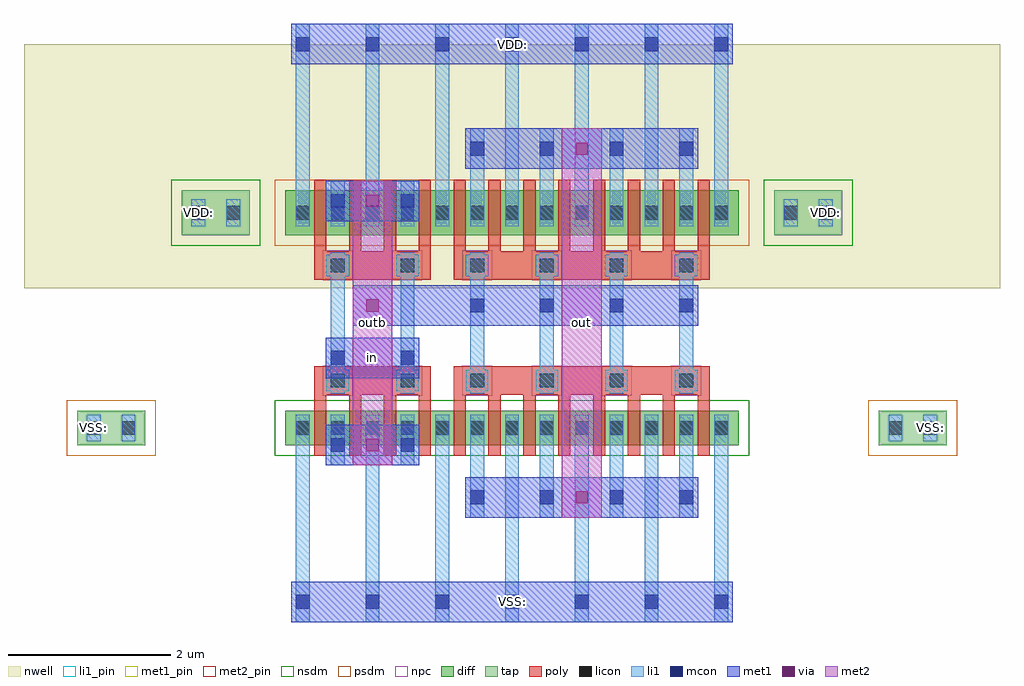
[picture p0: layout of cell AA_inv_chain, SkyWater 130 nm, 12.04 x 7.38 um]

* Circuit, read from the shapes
.subckt AA_inv_chain VDD: VSS: in out outb
XM1 outb in VSS: VSS: sky130_fd_pr__nfet_01v8 w=0.42 l=0.15 m=4
XM2 out outb VSS: VSS: sky130_fd_pr__nfet_01v8 w=0.42 l=0.15 m=8
XM3 outb in VDD: VDD: sky130_fd_pr__pfet_01v8 w=0.55 l=0.15 m=4
XM4 out outb VDD: VDD: sky130_fd_pr__pfet_01v8 w=0.55 l=0.15 m=8
.ends

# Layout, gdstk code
from math import pi, radians
import gdstk
lib = gdstk.Library(unit=1e-6, precision=1e-09)
def R(c, l, rs):  # rectangles x0, y0, x1, y1
    for r in rs: c.add(gdstk.rectangle(r[:2], r[2:], *l))
def A(c, l, x, y, w, h, nx, ny, dx, dy):  # array of equal rectangles
    R(c, l, [(x+i*dx, y+j*dy, x+i*dx+w, y+j*dy+h) for i in range(nx) for j in range(ny)])
def P(c, l, *ps):  # polygons
    for p in ps: c.add(gdstk.Polygon(p, *l))
nwell = (64, 20)
diff = (65, 20)
tap = (65, 44)
poly = (66, 20)
licon = (66, 44)
li1_pin = (67, 16)
li1 = (67, 20)
mcon = (67, 44)
met1_pin = (68, 16)
met1 = (68, 20)
via = (68, 44)
met2_pin = (69, 16)
met2 = (69, 20)
nsdm = (93, 44)
psdm = (94, 20)
npc = (95, 20)

mosend = lib.new_cell('MOSEnd')

mosend_1 = lib.new_cell('MOSEnd_1')
R(mosend_1, nwell, [(0,0,10.32,1.29)])

mosconn = lib.new_cell('MOSConn')
R(mosconn, diff, [(-0.215,0.655,1.935,1.075)])
R(mosconn, poly, [(0.345,0.115,0.515,0.445), (1.205,0.115,1.375,0.445)])
P(mosconn, poly, [(1.43,1.205),(1.43,0.455),(1.15,0.455),(1.15,1.205),(1,1.205),(1,0.455),(0.72,0.455),(0.72,1.205),(0.57,1.205),(0.57,0.455),(0.29,0.455),(0.29,1.205),(0.14,1.205),(0.14,0.105),(1.58,0.105),(1.58,1.205)])
A(mosconn, licon, -0.085, 0.78, 0.17, 0.17, 5, 1, 0.43, 0)
R(mosconn, licon, [(0.345,0.195,0.515,0.365), (1.205,0.195,1.375,0.365)])
A(mosconn, li1, -0.085, 0.7, 0.17, 0.33, 5, 1, 0.43, 0)
R(mosconn, li1, [(0.29,0.145,0.57,0.415), (1.15,0.145,1.43,0.415)])
P(mosconn, li1, [(0.345,0.445),(0.345,0.415),(0.29,0.415),(0.29,0.145),(0.345,0.145),(0.345,0.115),(0.515,0.115),(0.515,0.145),(0.57,0.145),(0.57,0.415),(0.515,0.415),(0.515,0.445)],
  [(1.205,0.445),(1.205,0.415),(1.15,0.415),(1.15,0.145),(1.205,0.145),(1.205,0.115),(1.375,0.115),(1.375,0.145),(1.43,0.145),(1.43,0.415),(1.375,0.415),(1.375,0.445)])
R(mosconn, nsdm, [(-0.345,0.525,2.065,1.205)])
R(mosconn, npc, [(0.245,0.095,0.615,0.465), (1.105,0.095,1.475,0.465)])

mosconn_1 = lib.new_cell('MOSConn_1')
R(mosconn_1, nwell, [(-0.345,0,2.065,1.72)])
R(mosconn_1, diff, [(-0.215,0.655,1.935,1.205)])
R(mosconn_1, poly, [(0.345,0.115,0.515,0.445), (1.205,0.115,1.375,0.445)])
P(mosconn_1, poly, [(1.43,1.335),(1.43,0.455),(1.15,0.455),(1.15,1.335),(1,1.335),(1,0.455),(0.72,0.455),(0.72,1.335),(0.57,1.335),(0.57,0.455),(0.29,0.455),(0.29,1.335),(0.14,1.335),(0.14,0.105),(1.58,0.105),(1.58,1.335)])
A(mosconn_1, licon, -0.085, 0.845, 0.17, 0.17, 5, 1, 0.43, 0)
R(mosconn_1, licon, [(0.345,0.195,0.515,0.365), (1.205,0.195,1.375,0.365)])
A(mosconn_1, li1, -0.085, 0.765, 0.17, 0.33, 5, 1, 0.43, 0)
R(mosconn_1, li1, [(0.29,0.145,0.57,0.415), (1.15,0.145,1.43,0.415)])
P(mosconn_1, li1, [(0.345,0.445),(0.345,0.415),(0.29,0.415),(0.29,0.145),(0.345,0.145),(0.345,0.115),(0.515,0.115),(0.515,0.145),(0.57,0.145),(0.57,0.415),(0.515,0.415),(0.515,0.445)],
  [(1.205,0.445),(1.205,0.415),(1.15,0.415),(1.15,0.145),(1.205,0.145),(1.205,0.115),(1.375,0.115),(1.375,0.145),(1.43,0.145),(1.43,0.415),(1.375,0.415),(1.375,0.445)])
R(mosconn_1, psdm, [(-0.345,0.525,2.065,1.335)])
R(mosconn_1, npc, [(0.245,0.095,0.615,0.465), (1.105,0.095,1.475,0.465)])

invcore = lib.new_cell('InvCore')
A(invcore, li1, -0.085, -0.25, 0.17, 2.56, 3, 1, 0.86, 0)
A(invcore, li1, -0.085, -0.25, 0.17, 0.5, 3, 2, 0.86, 6.88)
A(invcore, li1, -0.085, 4.635, 0.17, 2.495, 3, 1, 0.86, 0)
R(invcore, li1, [(0.345,1.685,0.515,2.31), (0.345,1.685,0.515,2.185), (1.205,1.685,1.375,2.31), (1.205,1.685,1.375,2.185), (0.345,2.565,0.515,4.315), (1.205,2.565,1.375,4.315), (0.345,2.76,0.515,3.26), (1.205,2.76,1.375,3.26), (0.345,4.635,0.515,5.195), (1.205,4.635,1.375,5.195), (0.345,4.695,0.515,5.195), (1.205,4.695,1.375,5.195)])
A(invcore, mcon, -0.085, -0.085, 0.17, 0.17, 3, 2, 0.86, 6.88)
R(invcore, mcon, [(0.345,1.85,0.515,2.02), (1.205,1.85,1.375,2.02), (0.345,2.925,0.515,3.095), (1.205,2.925,1.375,3.095), (0.345,4.86,0.515,5.03), (1.205,4.86,1.375,5.03)])
A(invcore, met1, -0.145, -0.25, 0.29, 0.5, 3, 2, 0.86, 6.88)
R(invcore, met1, [(-0.145,-0.25,1.865,0.25), (0.285,1.685,1.435,2.185), (0.285,1.685,0.575,2.185), (0.615,1.685,1.105,2.185), (1.145,1.685,1.435,2.185), (0.285,2.76,1.435,3.26), (0.285,2.76,0.575,3.26), (1.145,2.76,1.435,3.26), (0.285,4.695,1.435,5.195), (0.285,4.695,0.575,5.195), (0.615,4.695,1.105,5.195), (1.145,4.695,1.435,5.195), (-0.145,6.63,1.865,7.13)])
R(invcore, via, [(0.785,1.86,0.935,2.01), (0.785,4.87,0.935,5.02)])
R(invcore, met2, [(0.615,1.685,1.105,5.195), (0.615,1.685,1.105,2.185), (0.615,4.695,1.105,5.195)])
invcore.add(gdstk.Reference(mosconn, (0,3.01), x_reflection=True))
invcore.add(gdstk.Reference(mosconn_1, (0,3.87)))

mosconn_2 = lib.new_cell('MOSConn_2')
R(mosconn_2, diff, [(-0.215,0.655,3.655,1.075)])
A(mosconn_2, poly, 0.345, 0.115, 0.17, 0.33, 4, 1, 0.86, 0)
P(mosconn_2, poly, [(3.15,1.205),(3.15,0.455),(2.87,0.455),(2.87,1.205),(2.72,1.205),(2.72,0.455),(2.44,0.455),(2.44,1.205),(2.29,1.205),(2.29,0.455),(2.01,0.455),(2.01,1.205),(1.86,1.205),(1.86,0.455),(1.58,0.455),(1.58,1.205),(1.43,1.205),(1.43,0.455),(1.15,0.455),(1.15,1.205),(1,1.205),(1,0.455),(0.72,0.455),(0.72,1.205),(0.57,1.205),(0.57,0.455),(0.29,0.455),(0.29,1.205),(0.14,1.205),(0.14,0.105),(3.3,0.105),(3.3,1.205)])
A(mosconn_2, licon, 0.345, 0.195, 0.17, 0.17, 4, 1, 0.86, 0)
A(mosconn_2, licon, -0.085, 0.78, 0.17, 0.17, 9, 1, 0.43, 0)
A(mosconn_2, li1, 0.29, 0.145, 0.28, 0.27, 4, 1, 0.86, 0)
A(mosconn_2, li1, -0.085, 0.7, 0.17, 0.33, 9, 1, 0.43, 0)
P(mosconn_2, li1, [(0.345,0.445),(0.345,0.415),(0.29,0.415),(0.29,0.145),(0.345,0.145),(0.345,0.115),(0.515,0.115),(0.515,0.145),(0.57,0.145),(0.57,0.415),(0.515,0.415),(0.515,0.445)],
  [(1.205,0.445),(1.205,0.415),(1.15,0.415),(1.15,0.145),(1.205,0.145),(1.205,0.115),(1.375,0.115),(1.375,0.145),(1.43,0.145),(1.43,0.415),(1.375,0.415),(1.375,0.445)],
  [(2.065,0.445),(2.065,0.415),(2.01,0.415),(2.01,0.145),(2.065,0.145),(2.065,0.115),(2.235,0.115),(2.235,0.145),(2.29,0.145),(2.29,0.415),(2.235,0.415),(2.235,0.445)],
  [(2.925,0.445),(2.925,0.415),(2.87,0.415),(2.87,0.145),(2.925,0.145),(2.925,0.115),(3.095,0.115),(3.095,0.145),(3.15,0.145),(3.15,0.415),(3.095,0.415),(3.095,0.445)])
R(mosconn_2, nsdm, [(-0.345,0.525,3.785,1.205)])
A(mosconn_2, npc, 0.245, 0.095, 0.37, 0.37, 4, 1, 0.86, 0)

mosconn_3 = lib.new_cell('MOSConn_3')
R(mosconn_3, nwell, [(-0.345,0,3.785,1.72)])
R(mosconn_3, diff, [(-0.215,0.655,3.655,1.205)])
A(mosconn_3, poly, 0.345, 0.115, 0.17, 0.33, 4, 1, 0.86, 0)
P(mosconn_3, poly, [(3.15,1.335),(3.15,0.455),(2.87,0.455),(2.87,1.335),(2.72,1.335),(2.72,0.455),(2.44,0.455),(2.44,1.335),(2.29,1.335),(2.29,0.455),(2.01,0.455),(2.01,1.335),(1.86,1.335),(1.86,0.455),(1.58,0.455),(1.58,1.335),(1.43,1.335),(1.43,0.455),(1.15,0.455),(1.15,1.335),(1,1.335),(1,0.455),(0.72,0.455),(0.72,1.335),(0.57,1.335),(0.57,0.455),(0.29,0.455),(0.29,1.335),(0.14,1.335),(0.14,0.105),(3.3,0.105),(3.3,1.335)])
A(mosconn_3, licon, 0.345, 0.195, 0.17, 0.17, 4, 1, 0.86, 0)
A(mosconn_3, licon, -0.085, 0.845, 0.17, 0.17, 9, 1, 0.43, 0)
A(mosconn_3, li1, 0.29, 0.145, 0.28, 0.27, 4, 1, 0.86, 0)
A(mosconn_3, li1, -0.085, 0.765, 0.17, 0.33, 9, 1, 0.43, 0)
P(mosconn_3, li1, [(0.345,0.445),(0.345,0.415),(0.29,0.415),(0.29,0.145),(0.345,0.145),(0.345,0.115),(0.515,0.115),(0.515,0.145),(0.57,0.145),(0.57,0.415),(0.515,0.415),(0.515,0.445)],
  [(1.205,0.445),(1.205,0.415),(1.15,0.415),(1.15,0.145),(1.205,0.145),(1.205,0.115),(1.375,0.115),(1.375,0.145),(1.43,0.145),(1.43,0.415),(1.375,0.415),(1.375,0.445)],
  [(2.065,0.445),(2.065,0.415),(2.01,0.415),(2.01,0.145),(2.065,0.145),(2.065,0.115),(2.235,0.115),(2.235,0.145),(2.29,0.145),(2.29,0.415),(2.235,0.415),(2.235,0.445)],
  [(2.925,0.445),(2.925,0.415),(2.87,0.415),(2.87,0.145),(2.925,0.145),(2.925,0.115),(3.095,0.115),(3.095,0.145),(3.15,0.145),(3.15,0.415),(3.095,0.415),(3.095,0.445)])
R(mosconn_3, psdm, [(-0.345,0.525,3.785,1.335)])
A(mosconn_3, npc, 0.245, 0.095, 0.37, 0.37, 4, 1, 0.86, 0)

invcore_1 = lib.new_cell('InvCore_1')
A(invcore_1, li1, -0.085, -0.25, 0.17, 2.56, 5, 1, 0.86, 0)
A(invcore_1, li1, -0.085, -0.25, 0.17, 0.5, 5, 2, 0.86, 6.88)
A(invcore_1, li1, 0.345, 1.04, 0.17, 1.27, 4, 1, 0.86, 0)
A(invcore_1, li1, 0.345, 1.04, 0.17, 0.5, 4, 2, 0.86, 2.365)
A(invcore_1, li1, 0.345, 2.565, 0.17, 1.75, 4, 1, 0.86, 0)
A(invcore_1, li1, -0.085, 4.635, 0.17, 2.495, 5, 1, 0.86, 0)
A(invcore_1, li1, 0.345, 4.635, 0.17, 1.205, 4, 1, 0.86, 0)
A(invcore_1, li1, 0.345, 5.34, 0.17, 0.5, 4, 1, 0.86, 0)
A(invcore_1, mcon, -0.085, -0.085, 0.17, 0.17, 5, 2, 0.86, 6.88)
A(invcore_1, mcon, 0.345, 1.205, 0.17, 0.17, 4, 2, 0.86, 2.365)
A(invcore_1, mcon, 0.345, 5.505, 0.17, 0.17, 4, 1, 0.86, 0)
A(invcore_1, met1, -0.145, -0.25, 0.29, 0.5, 5, 2, 0.86, 6.88)
A(invcore_1, met1, 0.285, 1.04, 0.29, 0.5, 4, 2, 0.86, 2.365)
A(invcore_1, met1, 0.285, 5.34, 0.29, 0.5, 4, 1, 0.86, 0)
R(invcore_1, met1, [(-0.145,-0.25,3.585,0.25), (0.285,1.04,3.155,1.54), (1.475,1.04,1.965,1.54), (0.285,3.405,3.155,3.905), (0.285,5.34,3.155,5.84), (1.475,5.34,1.965,5.84), (-0.145,6.63,3.585,7.13)])
R(invcore_1, via, [(1.645,1.215,1.795,1.365), (1.645,5.515,1.795,5.665)])
R(invcore_1, met2, [(1.475,1.04,1.965,5.84), (1.475,1.04,1.965,1.54), (1.475,5.34,1.965,5.84)])
invcore_1.add(gdstk.Reference(mosconn_2, (0,3.01), x_reflection=True))
invcore_1.add(gdstk.Reference(mosconn_3, (0,3.87)))

invchaincore = lib.new_cell('InvChainCore')
R(invchaincore, met1, [(-0.145,-0.25,5.305,0.25), (0.615,3.405,4.875,3.905), (0.615,3.405,1.105,3.905), (-0.145,6.63,5.305,7.13)])
R(invchaincore, via, [(0.785,3.58,0.935,3.73)])
R(invchaincore, met2, [(0.615,1.685,1.105,5.195), (0.615,3.405,1.105,3.905)])
invchaincore.add(gdstk.Reference(invcore, (0,0)))
invchaincore.add(gdstk.Reference(invcore_1, (1.72,0)))

mostap = lib.new_cell('MOSTap')
R(mostap, tap, [(-0.205,0.655,0.635,1.075)])
R(mostap, licon, [(-0.085,0.78,0.085,0.95), (0.345,0.78,0.515,0.95)])
R(mostap, li1, [(-0.085,0.7,0.085,1.03), (0.345,0.7,0.515,1.03)])
R(mostap, psdm, [(-0.335,0.525,0.765,1.205)])

mostap_1 = lib.new_cell('MOSTap_1')
R(mostap_1, nwell, [(-0.335,0,0.765,1.72)])
R(mostap_1, tap, [(-0.205,0.655,0.635,1.205)])
R(mostap_1, licon, [(-0.085,0.845,0.085,1.015), (0.345,0.845,0.515,1.015)])
R(mostap_1, li1, [(-0.085,0.765,0.085,1.095), (0.345,0.765,0.515,1.095)])
R(mostap_1, nsdm, [(-0.335,0.525,0.765,1.335)])

invchaincoretap = lib.new_cell('InvChainCoreTap')
invchaincoretap.add(gdstk.Reference(invchaincore, (2.58,0)))
invchaincoretap.add(gdstk.Reference(mostap, (0,3.01), x_reflection=True))
invchaincoretap.add(gdstk.Reference(mostap, (10.32,3.01), rotation=pi))
invchaincoretap.add(gdstk.Reference(mostap_1, (9.03,3.87), rotation=pi, x_reflection=True))
invchaincoretap.add(gdstk.Reference(mostap_1, (1.29,3.87)))

moscorner = lib.new_cell('MOSCorner')

moscorner_1 = lib.new_cell('MOSCorner_1')
R(moscorner_1, nwell, [(0,0,0.86,1.29)])

mosrowedge = lib.new_cell('MOSRowEdge')

mosrowedge_1 = lib.new_cell('MOSRowEdge_1')
R(mosrowedge_1, nwell, [(0,0,0.86,1.72)])

mosspace = lib.new_cell('MOSSpace')

mosspace_1 = lib.new_cell('MOSSpace_1')

mosspace_2 = lib.new_cell('MOSSpace_2')
R(mosspace_2, nwell, [(0,0,1.29,1.72)])

mosspace_4 = lib.new_cell('MOSSpace_4')
R(mosspace_4, nwell, [(0,0,0.86,1.72)])

mosspace_5 = lib.new_cell('MOSSpace_5')
R(mosspace_5, nwell, [(0,0,1.29,1.72)])

mosspace_3 = lib.new_cell('MOSSpace_3')
R(mosspace_3, nwell, [(0,0,0.86,1.72)])

aa_inv_chain = lib.new_cell('AA_inv_chain')
R(aa_inv_chain, li1_pin, [(0.775,1.98,0.945,2.31), (11.095,1.98,11.265,2.31), (2.065,4.635,2.235,4.965), (9.805,4.635,9.975,4.965)])
R(aa_inv_chain, met1_pin, [(3.295,-0.25,8.745,0.25), (3.725,2.76,4.875,3.26), (3.295,6.63,8.745,7.13)])
R(aa_inv_chain, met2_pin, [(6.635,1.04,7.125,5.84), (4.055,1.685,4.545,5.195)])
aa_inv_chain.add(gdstk.Reference(mosend, (0.86,0)))
aa_inv_chain.add(gdstk.Reference(mosend_1, (0.86,6.88), x_reflection=True))
aa_inv_chain.add(gdstk.Reference(invchaincoretap, (0.86,0)))
aa_inv_chain.add(gdstk.Reference(moscorner, (0,0)))
aa_inv_chain.add(gdstk.Reference(moscorner, (12.04,0), rotation=pi, x_reflection=True))
aa_inv_chain.add(gdstk.Reference(moscorner_1, (0,6.88), x_reflection=True))
aa_inv_chain.add(gdstk.Reference(moscorner_1, (12.04,6.88), rotation=pi))
aa_inv_chain.add(gdstk.Reference(mosrowedge, (0,3.01), x_reflection=True))
aa_inv_chain.add(gdstk.Reference(mosrowedge, (12.04,3.01), rotation=pi))
aa_inv_chain.add(gdstk.Reference(mosrowedge_1, (0,3.87)))
aa_inv_chain.add(gdstk.Reference(mosrowedge_1, (12.04,3.87), rotation=pi, x_reflection=True))
aa_inv_chain.add(gdstk.Reference(mosspace, (1.29,3.01), x_reflection=True))
aa_inv_chain.add(gdstk.Reference(mosspace_1, (8.6,3.01), x_reflection=True))
aa_inv_chain.add(gdstk.Reference(mosspace_2, (0.86,3.87)))
aa_inv_chain.add(gdstk.Reference(mosspace_4, (8.6,3.87)))
aa_inv_chain.add(gdstk.Reference(mosspace_5, (9.89,3.87)))
aa_inv_chain.add(gdstk.Reference(mosspace_3, (2.58,3.87)))
aa_inv_chain.add(gdstk.Label('VDD:', (6.02,6.88), layer=68, texttype=16))
aa_inv_chain.add(gdstk.Label('VSS:', (6.02,0), layer=68, texttype=16))
aa_inv_chain.add(gdstk.Label('in', (4.3,3.01), layer=68, texttype=16))
aa_inv_chain.add(gdstk.Label('outb', (4.3,3.44), layer=69, texttype=16))
aa_inv_chain.add(gdstk.Label('out', (6.88,3.44), layer=69, texttype=16))
aa_inv_chain.add(gdstk.Label('VDD:', (2.15,4.8), layer=67, texttype=16))
aa_inv_chain.add(gdstk.Label('VDD:', (9.89,4.8), layer=67, texttype=16))
aa_inv_chain.add(gdstk.Label('VSS:', (0.86,2.145), layer=67, texttype=16))
aa_inv_chain.add(gdstk.Label('VSS:', (11.18,2.145), layer=67, texttype=16))

lib.write_gds('AA_inv_chain.gds')
